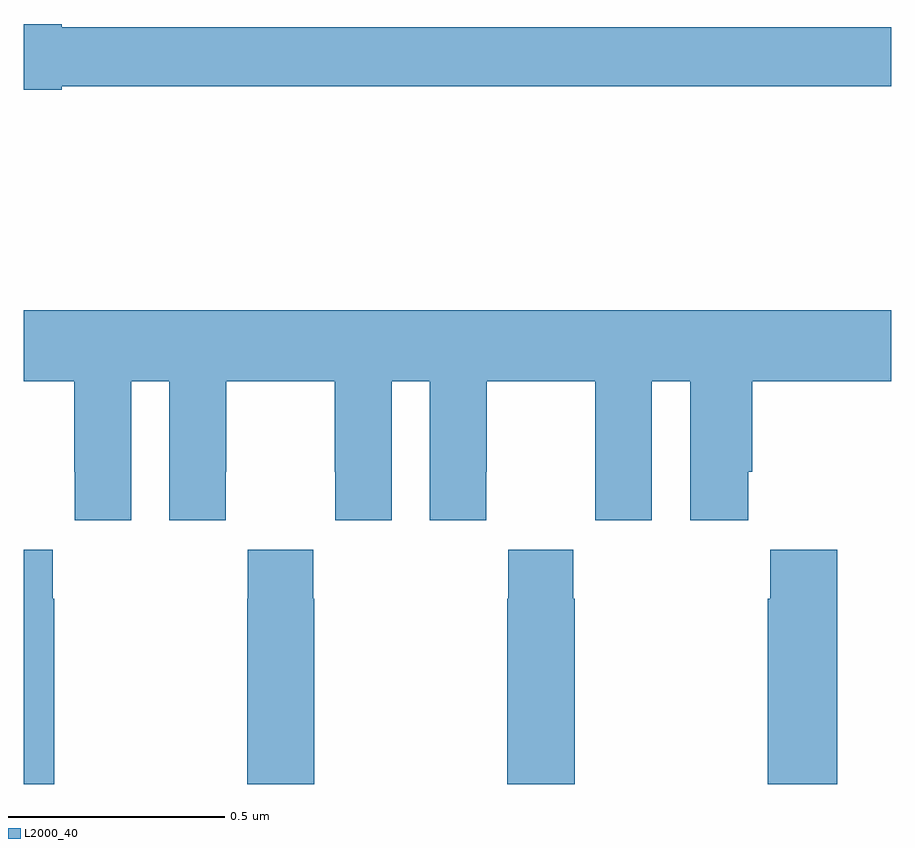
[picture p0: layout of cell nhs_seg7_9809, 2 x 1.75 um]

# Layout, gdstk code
import gdstk
lib = gdstk.Library(unit=1e-6, precision=1e-09)
def P(c, l, *ps):  # polygons
    for p in ps: c.add(gdstk.Polygon(p, *l))
L2000_40 = (2000, 40)

nhs_seg7_9809 = lib.new_cell('nhs_seg7_9809')
P(nhs_seg7_9809, L2000_40, [(242.088,1022.608),(244,1022.608),(244,1022.744),(242.088,1022.744),(242.088,1022.752),(242,1022.752),(242,1022.6),(242.088,1022.6)],
  [(242.248,1021.928),(242.336,1021.928),(242.336,1021.608),(242.466,1021.608),(242.466,1021.72),(242.467,1021.72),(242.467,1021.928),(242.717,1021.928),(242.717,1021.72),(242.718,1021.72),(242.718,1021.608),(242.848,1021.608),(242.848,1021.928),(242.936,1021.928),(242.936,1021.608),(243.066,1021.608),(243.066,1021.72),(243.067,1021.72),(243.067,1021.928),(243.317,1021.928),(243.317,1021.72),(243.318,1021.72),(243.318,1021.608),(243.448,1021.608),(243.448,1021.928),(243.536,1021.928),(243.536,1021.608),(243.67,1021.608),(243.67,1021.72),(243.68,1021.72),(243.68,1021.928),(244,1021.928),(244,1022.092),(242,1022.092),(242,1021.928),(242.117,1021.928),(242.117,1021.72),(242.118,1021.72),(242.118,1021.608),(242.248,1021.608)],
  [(243.27,1021.427),(243.267,1021.427),(243.267,1021.54),(243.117,1021.54),(243.117,1021.427),(243.115,1021.427),(243.115,1021),(243.27,1021)],
  [(242.67,1021.427),(242.667,1021.427),(242.667,1021.54),(242.517,1021.54),(242.517,1021.427),(242.515,1021.427),(242.515,1021),(242.67,1021)],
  [(242.07,1021.427),(242.067,1021.427),(242.067,1021.54),(242,1021.54),(242,1021),(242.07,1021)],
  [(243.875,1021.54),(243.721,1021.54),(243.721,1021.427),(243.715,1021.427),(243.715,1021),(243.875,1021)])

lib.write_gds('nhs_seg7_9809.gds')
